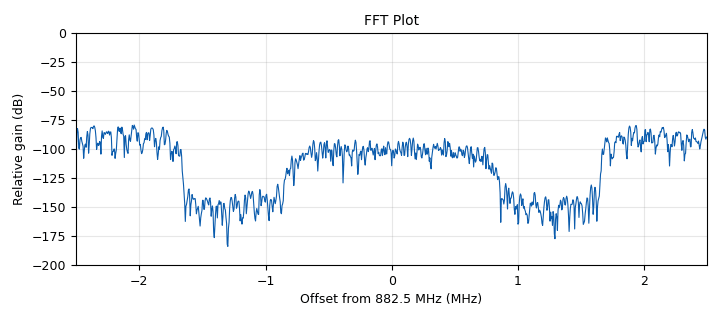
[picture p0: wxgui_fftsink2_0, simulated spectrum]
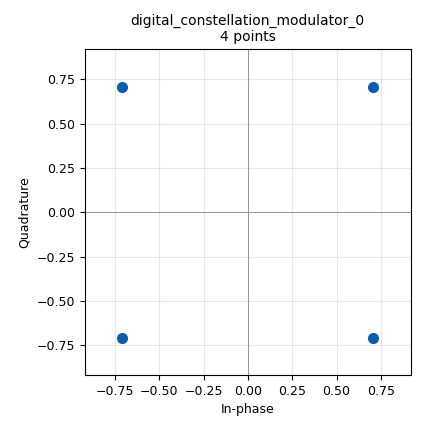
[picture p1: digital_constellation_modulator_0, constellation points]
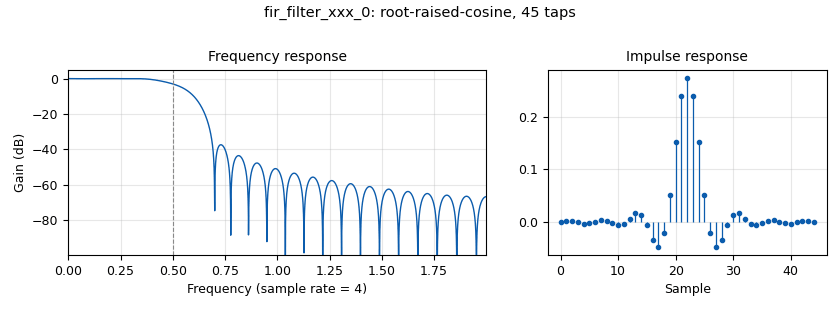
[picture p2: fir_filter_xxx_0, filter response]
<?xml version='1.0' encoding='utf-8'?>
<flow_graph>
<block>
<key>options</key>
<param><key>id</key><value>TxSquare</value></param>
<param><key>generate_options</key><value>wx_gui</value></param>
<param><key>category</key><value>Custom</value></param>
</block>
<block>
<key>variable</key>
<param><key>id</key><value>freq</value></param>
<param><key>value</key><value>882500000</value></param>
</block>
<block>
<key>variable</key>
<param><key>id</key><value>excess_bw</value></param>
<param><key>value</key><value>0.35</value></param>
</block>
<block>
<key>variable</key>
<param><key>id</key><value>rrc_taps</value></param>
<param><key>value</key><value>firdes.root_raised_cosine(1, sps, 1, excess_bw, 45)</value></param>
</block>
<block>
<key>variable</key>
<param><key>id</key><value>sps</value></param>
<param><key>value</key><value>4</value></param>
</block>
<block>
<key>variable</key>
<param><key>id</key><value>samp_rate</value></param>
<param><key>value</key><value>5000000</value></param>
</block>
<block>
<key>variable</key>
<param><key>id</key><value>arity</value></param>
<param><key>value</key><value>4</value></param>
</block>
<block>
<key>variable_constellation_rect</key>
<param><key>id</key><value>qpsk</value></param>
<param><key>value</key><value>"ok"</value></param>
<param><key>sym_map</key><value>[0, 1, 2, 3]</value></param>
<param><key>const_points</key><value>[0.707+0.707j, -0.707+0.707j, -0.707-0.707j, 0.707-0.707j]</value></param>
<param><key>rot_sym</key><value>4</value></param>
<param><key>real_sect</key><value>2</value></param>
<param><key>imag_sect</key><value>2</value></param>
<param><key>w_real_sect</key><value>1</value></param>
<param><key>w_imag_sect</key><value>1</value></param>
<param><key>softbits_lut</key><value>None</value></param>
</block>
<block>
<key>analog_random_source_x</key>
<param><key>id</key><value>analog_random_source_x_0</value></param>
<param><key>type</key><value>byte</value></param>
<param><key>min</key><value>0</value></param>
<param><key>max</key><value>256</value></param>
<param><key>num_samps</key><value>samp_rate</value></param>
<param><key>repeat</key><value>True</value></param>
</block>
<block>
<key>blocks_add_xx</key>
<param><key>id</key><value>blocks_add_xx_0</value></param>
<param><key>_enabled</key><value>0</value></param>
<param><key>type</key><value>complex</value></param>
</block>
<block>
<key>blocks_file_sink</key>
<param><key>id</key><value>blocks_file_sink_0</value></param>
<param><key>_enabled</key><value>0</value></param>
<param><key>type</key><value>complex</value></param>
</block>
<block>
<key>blocks_multiply_xx</key>
<param><key>id</key><value>blocks_multiply_xx_0</value></param>
<param><key>type</key><value>complex</value></param>
</block>
<block>
<key>digital_constellation_modulator</key>
<param><key>id</key><value>digital_constellation_modulator_0</value></param>
<param><key>constellation</key><value>qpsk</value></param>
<param><key>differential</key><value>True</value></param>
<param><key>samples_per_symbol</key><value>sps</value></param>
<param><key>excess_bw</key><value>excess_bw</value></param>
</block>
<block>
<key>uhd_usrp_source</key>
<param><key>id</key><value>uhd_usrp_source_0</value></param>
<param><key>_enabled</key><value>0</value></param>
<param><key>type</key><value>fc32</value></param>
<param><key>dev_args</key><value>""</value></param>
<param><key>sync</key><value></value></param>
<param><key>clock_rate</key><value>0.0</value></param>
<param><key>samp_rate</key><value>samp_rate</value></param>
<param><key>center_freq0</key><value>freq</value></param>
<param><key>gain0</key><value>0</value></param>
<param><key>ant0</key><value>TX/RX</value></param>
</block>
<block>
<key>qtgui_freq_sink_x</key>
<param><key>id</key><value>qtgui_freq_sink_x_0</value></param>
<param><key>_enabled</key><value>False</value></param>
<param><key>type</key><value>complex</value></param>
<param><key>name</key><value></value></param>
<param><key>fftsize</key><value>1024</value></param>
<param><key>wintype</key><value>firdes.WIN_BLACKMAN_hARRIS</value></param>
<param><key>fc</key><value>freq</value></param>
<param><key>bw</key><value>samp_rate</value></param>
<param><key>ymin</key><value>-150</value></param>
<param><key>ymax</key><value>0</value></param>
<param><key>gui_hint</key><value>1,0,1,2</value></param>
<param><key>label1</key><value>SW</value></param>
<param><key>width1</key><value>2</value></param>
<param><key>alpha1</key><value>0.6</value></param>
</block>
<block>
<key>blocks_throttle</key>
<param><key>id</key><value>blocks_throttle_0</value></param>
<param><key>type</key><value>complex</value></param>
<param><key>samples_per_second</key><value>samp_rate</value></param>
</block>
<block>
<key>uhd_usrp_sink</key>
<param><key>id</key><value>uhd_usrp_sink_0</value></param>
<param><key>type</key><value>fc32</value></param>
<param><key>dev_args</key><value>""</value></param>
<param><key>sync</key><value></value></param>
<param><key>clock_rate</key><value>0.0</value></param>
<param><key>samp_rate</key><value>samp_rate *2</value></param>
<param><key>center_freq0</key><value>freq</value></param>
<param><key>gain0</key><value>10</value></param>
<param><key>ant0</key><value></value></param>
<param><key>bw0</key><value>samp_rate </value></param>
<param><key>len_tag_name</key><value></value></param>
</block>
<block>
<key>fir_filter_xxx</key>
<param><key>id</key><value>fir_filter_xxx_0</value></param>
<param><key>type</key><value>ccc</value></param>
<param><key>decim</key><value>1</value></param>
<param><key>taps</key><value>rrc_taps</value></param>
</block>
<block>
<key>wxgui_fftsink2</key>
<param><key>id</key><value>wxgui_fftsink2_0</value></param>
<param><key>type</key><value>complex</value></param>
<param><key>title</key><value>FFT Plot</value></param>
<param><key>samp_rate</key><value>samp_rate </value></param>
<param><key>baseband_freq</key><value>freq</value></param>
<param><key>y_per_div</key><value>20</value></param>
<param><key>y_divs</key><value>10</value></param>
<param><key>ref_level</key><value>0</value></param>
<param><key>ref_scale</key><value>2.0</value></param>
<param><key>fft_size</key><value>1024</value></param>
<param><key>fft_rate</key><value>15</value></param>
<param><key>peak_hold</key><value>False</value></param>
<param><key>average</key><value>False</value></param>
<param><key>avg_alpha</key><value>0</value></param>
<param><key>win</key><value>None</value></param>
<param><key>freqvar</key><value>None</value></param>
</block>
<block>
<key>analog_sig_source_x</key>
<param><key>id</key><value>analog_sig_source_x_0</value></param>
<param><key>type</key><value>complex</value></param>
<param><key>samp_rate</key><value>samp_rate</value></param>
<param><key>waveform</key><value>analog.GR_COS_WAVE</value></param>
<param><key>freq</key><value>freq</value></param>
<param><key>amp</key><value>2</value></param>
<param><key>offset</key><value>0</value></param>
</block>
<connection><source_block_id>analog_random_source_x_0</source_block_id><sink_block_id>digital_constellation_modulator_0</sink_block_id><source_key>0</source_key><sink_key>0</sink_key></connection>
<connection><source_block_id>analog_sig_source_x_0</source_block_id><sink_block_id>blocks_multiply_xx_0</sink_block_id><source_key>0</source_key><sink_key>1</sink_key></connection>
<connection><source_block_id>blocks_add_xx_0</source_block_id><sink_block_id>blocks_file_sink_0</sink_block_id><source_key>0</source_key><sink_key>0</sink_key></connection>
<connection><source_block_id>blocks_multiply_xx_0</source_block_id><sink_block_id>blocks_throttle_0</sink_block_id><source_key>0</source_key><sink_key>0</sink_key></connection>
<connection><source_block_id>blocks_throttle_0</source_block_id><sink_block_id>fir_filter_xxx_0</sink_block_id><source_key>0</source_key><sink_key>0</sink_key></connection>
<connection><source_block_id>digital_constellation_modulator_0</source_block_id><sink_block_id>blocks_multiply_xx_0</sink_block_id><source_key>0</source_key><sink_key>0</sink_key></connection>
<connection><source_block_id>fir_filter_xxx_0</source_block_id><sink_block_id>blocks_add_xx_0</sink_block_id><source_key>0</source_key><sink_key>0</sink_key></connection>
<connection><source_block_id>uhd_usrp_source_0</source_block_id><sink_block_id>blocks_add_xx_0</sink_block_id><source_key>0</source_key><sink_key>1</sink_key></connection>
<connection><source_block_id>fir_filter_xxx_0</source_block_id><sink_block_id>uhd_usrp_sink_0</sink_block_id><source_key>0</source_key><sink_key>0</sink_key></connection>
<connection><source_block_id>fir_filter_xxx_0</source_block_id><sink_block_id>wxgui_fftsink2_0</sink_block_id><source_key>0</source_key><sink_key>0</sink_key></connection>
</flow_graph>
